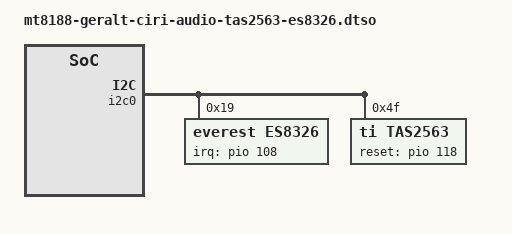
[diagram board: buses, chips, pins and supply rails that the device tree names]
// SPDX-License-Identifier: (GPL-2.0 OR MIT)
/*
 * Copyright 2024 Google LLC
 */
#include <dt-bindings/gpio/gpio.h>
#include <dt-bindings/interrupt-controller/irq.h>
/dts-v1/;
/plugin/;

&i2c0 {
	#address-cells = <1>;
	#size-cells = <0>;

	es8326: audio-codec@19 {
		compatible = "everest,es8326";
		reg = <0x19>;
		interrupts-extended = <&pio 108 IRQ_TYPE_LEVEL_LOW>;
		pinctrl-names = "default";
		pinctrl-0 = <&audio_codec_pins>;
		#sound-dai-cells = <0>;
		everest,jack-pol = [0e];
		everest,interrupt-clk = [00];
	};

	tas2563: amplifier@4f {
		compatible = "ti,tas2563", "ti,tas2781";
		reg = <0x4f>, <0x4c>; /* left / right channel */
		reset-gpios = <&pio 118 GPIO_ACTIVE_HIGH>;
		#sound-dai-cells = <0>;
	};
};

&sound {
	compatible = "mediatek,mt8188-es8326";
	model = "mt8188_tas2563_8326";

	audio-routing =
		"ETDM1_OUT", "ETDM_SPK_PIN",
		"ETDM2_OUT", "ETDM_HP_PIN",
		"ETDM1_IN", "ETDM_SPK_PIN",
		"ETDM2_IN", "ETDM_HP_PIN",
		"ADDA Capture", "MTKAIF_PIN",
		"Headphone Jack", "HPOL",
		"Headphone Jack", "HPOR",
		"MIC1", "Headset Mic";

	dai-link-1 {
		codec {
			sound-dai = <&tas2563>;
		};
	};

	dai-link-2 {
		codec {
			sound-dai = <&es8326>;
		};
	};

	dai-link-3 {
		codec {
			sound-dai = <&es8326>;
		};
	};
};
